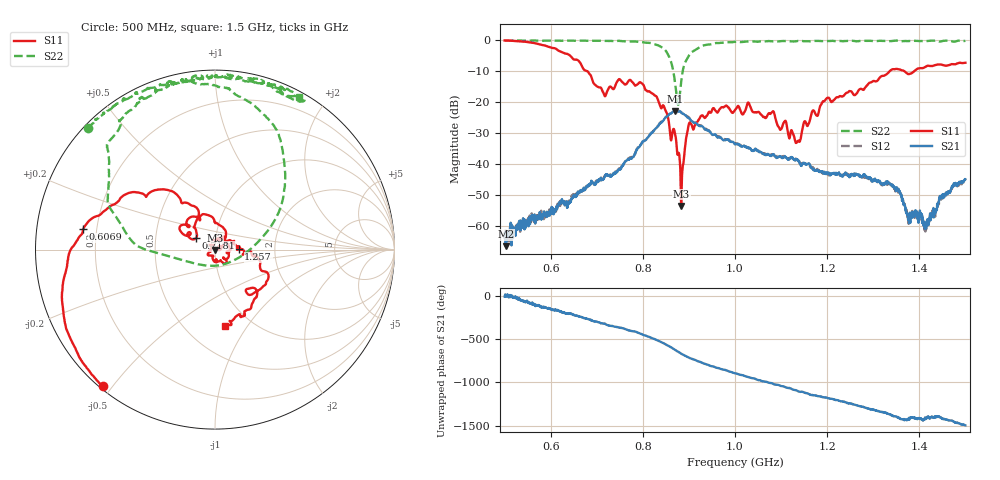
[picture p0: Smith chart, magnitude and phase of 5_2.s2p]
!Agilent Technologies,E8364B,US42250235,A.06.04.32
!Agilent E8364B: A.06.04.32
!Date: Friday, January 15, 2021 16:12:19
!Correction: S11(Full 2 Port(1,2)) S21(Full 2 Port(1,2)) S12(Full 2 Port(1,2)) S22(Full 2 Port(1,2))
!S2P File: Measurements: S11, S21, S12, S22:
# Hz S  dB  R 50
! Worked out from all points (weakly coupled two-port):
!   1601 points, 500 MHz to 1.5 GHz, reference 50 ohm
!   highest |S21| = -22.91 dB at 870 MHz (marker M1); lowest = -66.6 dB at 502.5 MHz (marker M2)
!   lowest |S11| = -53.6 dB at 883.1 MHz (marker M3), VSWR 1.00, Z = 50 - j0.208 ohm
!   |S11| at or under -10 dB: 677.4 MHz to 1.336 GHz (658.6 MHz wide, 65.4 % of centre); 1.367 GHz to 1.389 GHz (22.14 MHz wide, 1.61 % of centre)
!   |S22| runs from -20.9 to -0.1 dB; largest |S21 - S12| = 0.0026
!   S11 on the Smith chart (normalised r, x): 500 MHz: 0.01, -0.47; 606.9 MHz: 0.15, +0.08; 718.1 MHz: 0.80, +0.11; 1.257 GHz: 1.30, +0.01; 1.5 GHz: 0.76, -0.80
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5e8  -0.13 -129.4  -63.80 -4.6  -63.05 33.1  -0.16 136.2
5.025e8  -0.14 -130.5  -66.62 11.9  -61.25 24.4  -0.15 136.1
6.06875e8  -2.58 171.2  -54.70 -160.0  -54.83 -158.5  -0.19 124.8
6.66875e8  -8.12 125.6  -48.95 116.8  -48.72 114.0  -0.21 116.5
7.18125e8  -18.16 148.1  -43.92 38.5  -43.74 37.4  -0.28 111.7
7.73125e8  -12.94 126.1  -38.31 -42.7  -37.98 -41.9  -0.47 98.6
8.3375e8  -19.77 53.3  -27.76 -157.7  -27.55 -156.8  -1.76 72.6
8.56875e8  -27.01 23.7  -24.10 139.6  -24.00 140.1  -5.38 43.7
8.7e8  -30.46 -1.1  -22.91 95.5  -22.77 96.5  -13.93 1.6
8.7625e8  -36.71 20.8  -23.18 76.8  -23.00 77.9  -20.86 -74.4
8.83125e8  -53.62 -85.9  -23.46 52.6  -23.32 54.1  -13.60 -165.4
9.01875e8  -26.61 130.7  -25.51 2.0  -25.39 2.0  -4.59 161.1
9.30625e8  -24.48 71.0  -28.07 -57.9  -28.15 -56.5  -1.80 137.2
1e9  -22.67 -8.2  -33.69 -174.2  -33.40 -172.5  -0.55 115.6
1.08125e9  -23.16 -79.7  -37.10 67.9  -37.05 66.4  -0.44 104.3
1.135625e9  -32.68 145.1  -38.60 -18.4  -38.68 -18.3  -0.32 94.0
1.166875e9  -23.33 72.9  -41.39 -64.5  -41.27 -63.3  -0.36 91.4
1.256875e9  -17.59 1.6  -43.29 -173.7  -43.57 -171.7  -0.26 86.9
1.33375e9  -10.37 -23.7  -46.05 72.6  -46.34 71.3  -0.38 76.9
1.37625e9  -11.00 -52.0  -57.27 19.7  -56.89 9.5  -0.32 72.0
1.4125e9  -8.72 -55.8  -60.47 34.1  -60.04 37.1  -0.33 68.2
1.5e9  -7.34 -82.3  -45.01 -58.7  -45.87 -60.2  -0.25 61.2
